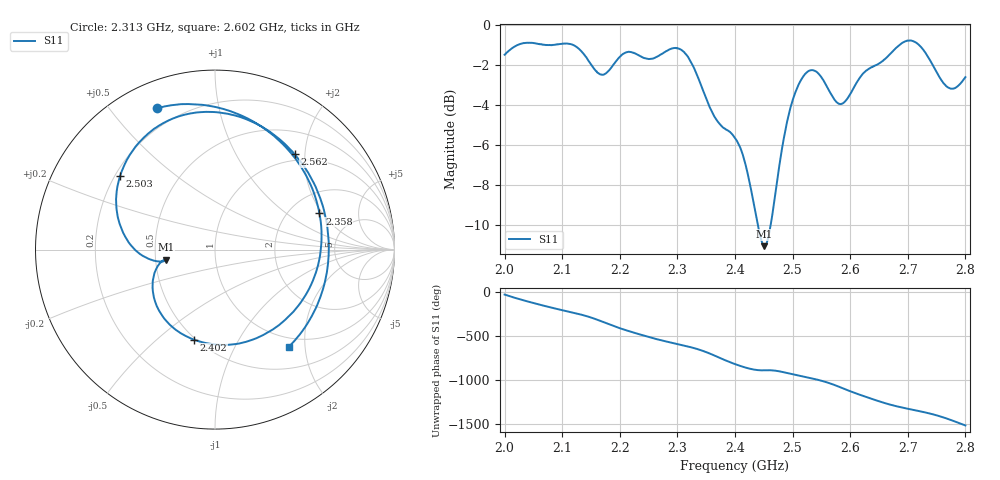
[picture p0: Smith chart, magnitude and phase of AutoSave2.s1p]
!Agilent N9923A: A.05.17
!Date: Sunday, 01 January 2006 12:19:46
!Model: N9923A
!Serial: MY50371189
!CHECKSUM:1158887488
!Correction: S11(ON U)
!S1P File: Measurement: S11:
# Hz S DB R 50
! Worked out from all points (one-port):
!   1001 points, 2 GHz to 2.8 GHz, reference 50 ohm
!   lowest |S11| = -11.1 dB at 2.451 GHz (marker M1), VSWR 1.78, Z = 28.3 - j3.5 ohm
!   |S11| at or under -10 dB: 2.44 GHz to 2.462 GHz (22.34 MHz wide, 0.912 % of centre)
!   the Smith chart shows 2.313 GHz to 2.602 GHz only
!   S11 on the Smith chart (normalised r, x): 2.313 GHz: 0.12, +0.67; 2.358 GHz: 2.88, +1.87; 2.402 GHz: 0.49, -0.67; 2.503 GHz: 0.22, +0.33; 2.562 GHz: 0.88, +1.80; 2.602 GHz: 0.83, -1.69
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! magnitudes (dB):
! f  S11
! 2 GHz  -1.5
! 2.033 GHz  -0.9
! 2.1 GHz  -0.9
! 2.126 GHz  -1.1
! 2.168 GHz  -2.5
! 2.2 GHz  -1.6
! 2.3 GHz  -1.2
! 2.313 GHz  -1.4
! 2.358 GHz  -4.2
! 2.4 GHz  -5.7
! 2.402 GHz  -5.8
! 2.417 GHz  -6.8
! 2.443 GHz  -10.5
! 2.451 GHz  -11.1
! 2.46 GHz  -10.3
! 2.484 GHz  -5.8
! 2.5 GHz  -3.8
! 2.503 GHz  -3.5
! 2.531 GHz  -2.3
! 2.562 GHz  -3.2
! 2.582 GHz  -4.0
! 2.6 GHz  -3.5
! 2.602 GHz  -3.3
! 2.626 GHz  -2.3
! 2.7 GHz  -0.8
! 2.725 GHz  -1.2
! 2.77 GHz  -3.1
! 2.8 GHz  -2.6
